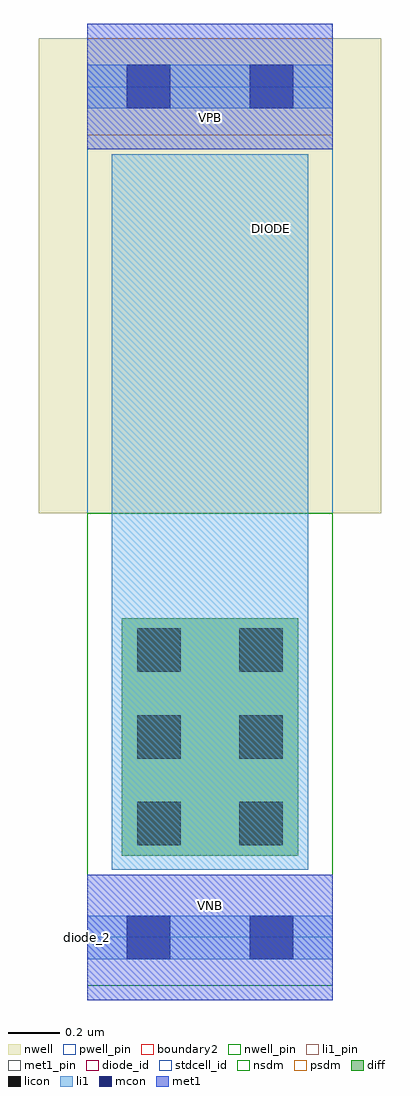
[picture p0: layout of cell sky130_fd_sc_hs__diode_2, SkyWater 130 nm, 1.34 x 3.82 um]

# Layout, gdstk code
import gdstk
lib = gdstk.Library(unit=1e-6, precision=1e-09)
def R(c, l, rs):  # rectangles x0, y0, x1, y1
    for r in rs: c.add(gdstk.rectangle(r[:2], r[2:], *l))
def A(c, l, x, y, w, h, nx, ny, dx, dy):  # array of equal rectangles
    R(c, l, [(x+i*dx, y+j*dy, x+i*dx+w, y+j*dy+h) for i in range(nx) for j in range(ny)])
nwell_pin = (64, 16)
nwell = (64, 20)
diff = (65, 20)
licon = (66, 44)
li1_pin = (67, 16)
li1 = (67, 20)
mcon = (67, 44)
met1_pin = (68, 16)
met1 = (68, 20)
stdcell_id = (81, 4)
diode_id = (81, 23)
nsdm = (93, 44)
psdm = (94, 20)
pwell_pin = (122, 16)
boundary2 = (236, 0)

sky130_fd_sc_hs__diode_2 = lib.new_cell('sky130_fd_sc_hs__diode_2')
R(sky130_fd_sc_hs__diode_2, nwell_pin, [(0,3.085,0.96,3.33)])
R(sky130_fd_sc_hs__diode_2, nwell, [(-0.19,1.66,1.15,3.52)])
R(sky130_fd_sc_hs__diode_2, diff, [(0.135,0.32,0.825,1.25)])
A(sky130_fd_sc_hs__diode_2, licon, 0.195, 0.36, 0.17, 0.17, 1, 3, 0, 0.34)
A(sky130_fd_sc_hs__diode_2, licon, 0.595, 0.36, 0.17, 0.17, 1, 3, 0, 0.34)
R(sky130_fd_sc_hs__diode_2, li1_pin, [(0.095,0.265,0.865,3.065)])
R(sky130_fd_sc_hs__diode_2, li1, [(0,-0.085,0.96,0.085), (0.095,0.265,0.865,3.065), (0,3.245,0.96,3.415)])
R(sky130_fd_sc_hs__diode_2, mcon, [(0.155,-0.085,0.325,0.085), (0.635,-0.085,0.805,0.085), (0.155,3.245,0.325,3.415), (0.635,3.245,0.805,3.415)])
R(sky130_fd_sc_hs__diode_2, met1_pin, [(0,-0.245,0.96,0.245), (0,3.085,0.96,3.575)])
R(sky130_fd_sc_hs__diode_2, met1, [(0,-0.245,0.96,0.245), (0,3.085,0.96,3.575)])
R(sky130_fd_sc_hs__diode_2, stdcell_id, [(0,0,0.96,3.33)])
R(sky130_fd_sc_hs__diode_2, diode_id, [(0.135,0.32,0.825,1.25)])
R(sky130_fd_sc_hs__diode_2, nsdm, [(0,-0.19,0.96,1.66)])
R(sky130_fd_sc_hs__diode_2, psdm, [(0,3.14,0.96,3.52)])
R(sky130_fd_sc_hs__diode_2, pwell_pin, [(0,0,0.96,0.245)])
R(sky130_fd_sc_hs__diode_2, boundary2, [(0,0,0.96,3.33)])
sky130_fd_sc_hs__diode_2.add(gdstk.Label('DIODE', (0.72,2.775), layer=67, texttype=5))
sky130_fd_sc_hs__diode_2.add(gdstk.Label('VNB', (0.48,0.123), layer=64, texttype=59))
sky130_fd_sc_hs__diode_2.add(gdstk.Label('VPB', (0.48,3.208), layer=64, texttype=5))
sky130_fd_sc_hs__diode_2.add(gdstk.Label('diode_2', (0,0), layer=83, texttype=44))
sky130_fd_sc_hs__diode_2.add(gdstk.Label('VPWR', (0.48,3.208), layer=68, texttype=5))
sky130_fd_sc_hs__diode_2.add(gdstk.Label('VGND', (0.48,0.123), layer=68, texttype=5))

lib.write_gds('sky130_fd_sc_hs__diode_2.gds')
